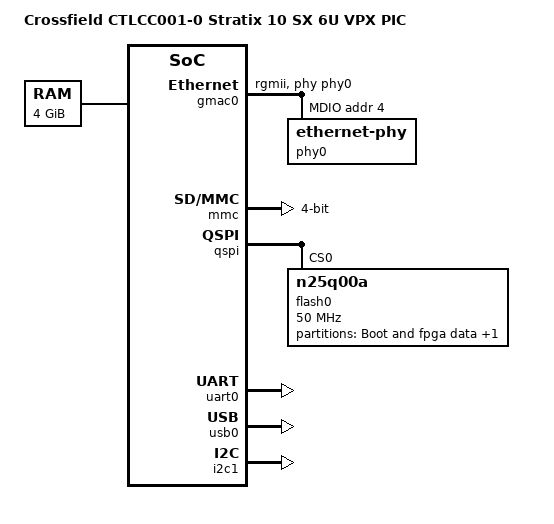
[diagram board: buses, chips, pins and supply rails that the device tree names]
// SPDX-License-Identifier: GPL-2.0
/*
 * Copyright (C) 2018 Intel Corporation
 */

#include "socfpga_stratix10.dtsi"

/ {
	model = "Crossfield CTLCC001-0 Stratix 10 SX 6U VPX PIC";

	aliases {
		ethernet0 = &gmac0;
		serial0 = &uart0;
	};

	chosen {
		stdout-path = "serial0:115200n8";
		u-boot,boot0 = <&flash0>;
	};

/*	leds {
		compatible = "gpio-leds";
		hps0 {
			label = "hps_led0";
			gpios = <&portb 20 GPIO_ACTIVE_HIGH>;
		};

		hps1 {
			label = "hps_led1";
			gpios = <&portb 19 GPIO_ACTIVE_HIGH>;
		};

		hps2 {
			label = "hps_led2";
			gpios = <&portb 21 GPIO_ACTIVE_HIGH>;
		};
	};
*/
	memory {
		device_type = "memory";
		/* 4GB */
		reg = <0 0x00000000 0 0x80000000>,
		      <1 0x80000000 0 0x80000000>;
		u-boot,dm-pre-reloc;
	};
};

&gpio1 {
	status = "okay";
};

&gmac0 {
	status = "okay";
	phy-mode = "rgmii";
	phy-handle = <&phy0>;

	max-frame-size = <3800>;

	mdio0 {
		#address-cells = <1>;
		#size-cells = <0>;
		compatible = "snps,dwmac-mdio";
		phy0: ethernet-phy@1 {
			reg = <4>;
		};
	};
};

&mmc {
	status = "okay";
	cap-sd-highspeed;
	cap-mmc-highspeed;
	broken-cd;
	bus-width = <4>;
	drvsel = <3>;
	smplsel = <0>;
};

&qspi {
	flash0: flash@0 {
		#address-cells = <1>;
		#size-cells = <1>;
		compatible = "n25q00a";
		reg = <0>;
		spi-max-frequency = <50000000>;

		m25p,fast-read;
		cdns,page-size = <256>;
		cdns,block-size = <16>;
		cdns,read-delay = <1>;
		cdns,tshsl-ns = <50>;
		cdns,tsd2d-ns = <50>;
		cdns,tchsh-ns = <4>;
		cdns,tslch-ns = <4>;

		partitions {
			compatible = "fixed-partitions";
			#address-cells = <1>;
			#size-cells = <1>;

			qspi_boot: partition@0 {
				label = "Boot and fpga data";
				reg = <0x0 0x024B0000>;
			};

			qspi_rootfs: partition@4000000 {
				label = "Root Filesystem - JFFS2";
				reg = <0x024B0000 0x05B50000>;
			};
		};
	};
};

&uart0 {
	status = "okay";
};

&usb0 {
	status = "okay";
};

&i2c1 {
	status = "okay";
};

#include "socfpga_stratix10_socdk-u-boot.dtsi"
